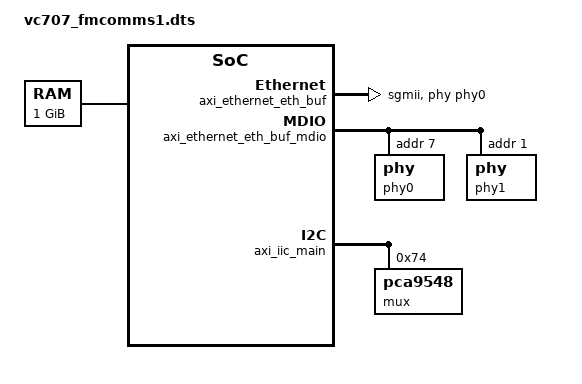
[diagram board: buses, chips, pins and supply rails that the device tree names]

/dts-v1/;
/include/ "vc707_fmcomms1_pl.dtsi"
/ {
	chosen {
		bootargs = "console=ttyUL0,115200";
		linux,stdout-path = &axi_uart;
		stdout-path = &axi_uart;
	};
	aliases {
		ethernet0 = &axi_ethernet_eth_buf;
		i2c0 = &axi_iic_main;
		serial0 = &axi_uart;
		serial1 = &sys_mb_debug;
		spi0 = &axi_spi;
	};
	memory {
		device_type = "memory";
		reg = <0x80000000 0x40000000>;
	};
};
&axi_ethernet_eth_buf {
	local-mac-address = [00 0a 35 00 00 06];
	phy-handle = <&phy0 &phy1>;
	phy-mode = "sgmii";
};

&axi_ethernet_eth_buf_mdio {
	phy0: phy@7 {
		device_type = "ethernet-phy";
		reg = <7>;
	};
	phy1: phy@1 {
		device_type = "ethernet-phy";
		reg = <1>;
	};
};

&axi_ad9122 {
	spibus-connected = <&dac0_ad9122>;
	dmas = <&axi_ad9122_dma 0>;
	dma-names = "tx";
};

&axi_ad9122_dma {
	#dma-cells = <1>;
	clocks = <&clk_bus_0>;

	dma-channel {
		adi,source-bus-width = <64>;
		adi,destination-bus-width = <64>;
		adi,type = <1>;
		adi,cyclic;
	};
};

&axi_ad9643 {
	dmas = <&axi_ad9643_dma 0>;
	dma-names = "rx";
	spibus-connected = <&adc0_ad9467>;
};

&axi_ad9643_dma {
	#dma-cells = <1>;
	clocks = <&clk_bus_0>;

	dma-channel {
		adi,source-bus-width = <64>;
		adi,destination-bus-width = <64>;
		adi,type = <0>;
	};
};

&axi_iic_main {
	mux@74 {
		#address-cells = <1>;
		#size-cells = <0>;
		compatible = "pca9548";
		reg = <0x74>;

		mux1: i2c@1 { /* HPC */
			#size-cells = <0>;
			#address-cells = <1>;
			reg = <1>;

		};

		fmc_i2c: i2c@2 { /* LPC */
			#size-cells = <0>;
			#address-cells = <1>;
			reg = <2>;
		};
	};
};

&axi_linear_flash {
	#address-cells = <1>;
	#size-cells = <1>;
	partition@0x00000000 {
		label = "fpga";
		reg = <0x00000000 0x1380000>;
	};
	partition@0x01380000 {
		label = "boot";
		reg = <0x01380000 0x80000>;
	};
	partition@0x01400000 {
		label = "bootenv";
		reg = <0x01400000 0x40000>;
	};
	partition@0x01440000 {
		label = "image";
		reg = <0x01440000 0xBC0000>;
	};
};

/include/ "adi-fmcomms1.dtsi"
